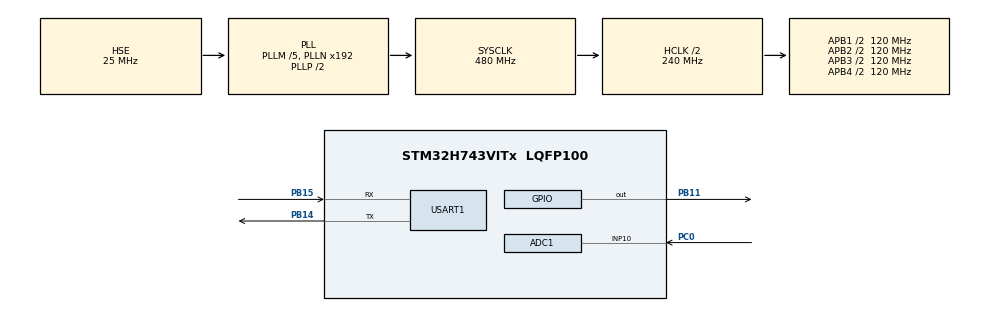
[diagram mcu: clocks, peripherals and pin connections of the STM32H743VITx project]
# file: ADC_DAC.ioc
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ADC1.Channel-1\#ChannelRegularConversion=ADC_CHANNEL_10
ADC1.ClockPrescaler=ADC_CLOCK_ASYNC_DIV1
ADC1.ConversionDataManagement=ADC_CONVERSIONDATA_DR
ADC1.ExternalTrigConv=ADC_SOFTWARE_START
ADC1.NbrOfConversion=1
ADC1.NbrOfConversionFlag=1
ADC1.OffsetNumber-1\#ChannelRegularConversion=ADC_OFFSET_NONE
ADC1.OffsetSignedSaturation-1\#ChannelRegularConversion=DISABLE
ADC1.OversamplingMode=DISABLE
ADC1.Rank-1\#ChannelRegularConversion=1
ADC1.SamplingTime-1\#ChannelRegularConversion=ADC_SAMPLETIME_1CYCLE_5
ADC1.master=1
CORTEX_M7.AccessPermission-Cortex_Memory_Protection_Unit_Region0_Settings=MPU_REGION_FULL_ACCESS
CORTEX_M7.AccessPermission-Cortex_Memory_Protection_Unit_Region1_Settings=MPU_REGION_FULL_ACCESS
CORTEX_M7.AccessPermission-Cortex_Memory_Protection_Unit_Region2_Settings=MPU_REGION_FULL_ACCESS
CORTEX_M7.AccessPermission-Cortex_Memory_Protection_Unit_Region3_Settings=MPU_REGION_FULL_ACCESS
CORTEX_M7.AccessPermission-Cortex_Memory_Protection_Unit_Region4_Settings=MPU_REGION_FULL_ACCESS
CORTEX_M7.AccessPermission_S-Cortex_Memory_Protection_Unit_Region1_Settings_S=MPU_REGION_FULL_ACCESS
CORTEX_M7.AccessPermission_S-Cortex_Memory_Protection_Unit_Region2_Settings_S=MPU_REGION_FULL_ACCESS
CORTEX_M7.AccessPermission_Spec=MPU_REGION_FULL_ACCESS
CORTEX_M7.BaseAddress-Cortex_Memory_Protection_Unit_Region0_Settings=0x24000000
CORTEX_M7.BaseAddress-Cortex_Memory_Protection_Unit_Region1_Settings=0x30000000
CORTEX_M7.BaseAddress-Cortex_Memory_Protection_Unit_Region2_Settings=0x30020000
CORTEX_M7.BaseAddress-Cortex_Memory_Protection_Unit_Region3_Settings=0x30040000
CORTEX_M7.BaseAddress-Cortex_Memory_Protection_Unit_Region4_Settings=0x38000000
CORTEX_M7.BaseAddress_S-Cortex_Memory_Protection_Unit_Region1_Settings_S=0x30000000
CORTEX_M7.BaseAddress_S-Cortex_Memory_Protection_Unit_Region2_Settings_S=0x30020000
CORTEX_M7.BaseAddress_Spec=0x24000000
CORTEX_M7.CPU_DCache=Enabled
CORTEX_M7.CPU_ICache=Enabled
CORTEX_M7.DisableExec_S-Cortex_Memory_Protection_Unit_Region1_Settings_S=MPU_INSTRUCTION_ACCESS_ENABLE
CORTEX_M7.DisableExec_S-Cortex_Memory_Protection_Unit_Region2_Settings_S=MPU_INSTRUCTION_ACCESS_ENABLE
CORTEX_M7.DisableExec_Spec=MPU_INSTRUCTION_ACCESS_ENABLE
CORTEX_M7.Enable-Cortex_Memory_Protection_Unit_Region0_Settings=MPU_REGION_ENABLE
CORTEX_M7.Enable-Cortex_Memory_Protection_Unit_Region1_Settings=MPU_REGION_ENABLE
CORTEX_M7.Enable-Cortex_Memory_Protection_Unit_Region2_Settings=MPU_REGION_ENABLE
CORTEX_M7.Enable-Cortex_Memory_Protection_Unit_Region3_Settings=MPU_REGION_ENABLE
CORTEX_M7.Enable-Cortex_Memory_Protection_Unit_Region4_Settings=MPU_REGION_ENABLE
CORTEX_M7.Enable_S-Cortex_Memory_Protection_Unit_Region1_Settings_S=MPU_REGION_ENABLE
CORTEX_M7.Enable_S-Cortex_Memory_Protection_Unit_Region2_Settings_S=MPU_REGION_ENABLE
CORTEX_M7.IsBufferable-Cortex_Memory_Protection_Unit_Region0_Settings=MPU_ACCESS_BUFFERABLE
CORTEX_M7.IsBufferable_S-Cortex_Memory_Protection_Unit_Region1_Settings_S=MPU_ACCESS_NOT_BUFFERABLE
CORTEX_M7.IsBufferable_Spec=MPU_ACCESS_BUFFERABLE
CORTEX_M7.IsCacheable-Cortex_Memory_Protection_Unit_Region0_Settings=MPU_ACCESS_CACHEABLE
CORTEX_M7.IsCacheable_S-Cortex_Memory_Protection_Unit_Region1_Settings_S=MPU_ACCESS_NOT_CACHEABLE
CORTEX_M7.IsCacheable_Spec=MPU_ACCESS_CACHEABLE
CORTEX_M7.IsShareable_Spec=MPU_ACCESS_NOT_SHAREABLE
CORTEX_M7.MPU_Control=MPU_PRIVILEGED_DEFAULT
CORTEX_M7.Size-Cortex_Memory_Protection_Unit_Region0_Settings=MPU_REGION_SIZE_512KB
CORTEX_M7.Size-Cortex_Memory_Protection_Unit_Region1_Settings=MPU_REGION_SIZE_128KB
CORTEX_M7.Size-Cortex_Memory_Protection_Unit_Region2_Settings=MPU_REGION_SIZE_128KB
CORTEX_M7.Size-Cortex_Memory_Protection_Unit_Region3_Settings=MPU_REGION_SIZE_32KB
CORTEX_M7.Size-Cortex_Memory_Protection_Unit_Region4_Settings=MPU_REGION_SIZE_64KB
CORTEX_M7.Size_S-Cortex_Memory_Protection_Unit_Region1_Settings_S=MPU_REGION_SIZE_128KB
CORTEX_M7.Size_S-Cortex_Memory_Protection_Unit_Region2_Settings_S=MPU_REGION_SIZE_128KB
CORTEX_M7.Size_Spec=MPU_REGION_SIZE_512KB
CORTEX_M7.SubRegionDisable_Spec=0x0
CORTEX_M7.TypeExtField-Cortex_Memory_Protection_Unit_Region0_Settings=MPU_TEX_LEVEL1
CORTEX_M7.TypeExtField-Cortex_Memory_Protection_Unit_Region1_Settings=MPU_TEX_LEVEL1
CORTEX_M7.TypeExtField-Cortex_Memory_Protection_Unit_Region2_Settings=MPU_TEX_LEVEL1
CORTEX_M7.TypeExtField-Cortex_Memory_Protection_Unit_Region3_Settings=MPU_TEX_LEVEL1
CORTEX_M7.TypeExtField-Cortex_Memory_Protection_Unit_Region4_Settings=MPU_TEX_LEVEL1
CORTEX_M7.TypeExtField_S-Cortex_Memory_Protection_Unit_Region1_Settings_S=MPU_TEX_LEVEL1
CORTEX_M7.TypeExtField_S-Cortex_Memory_Protection_Unit_Region2_Settings_S=MPU_TEX_LEVEL1
CORTEX_M7.TypeExtField_Spec=MPU_TEX_LEVEL1
Mcu.Family=STM32H7
Mcu.Name=STM32H743VITx
Mcu.Package=LQFP100
NVIC.PriorityGroup=NVIC_PRIORITYGROUP_4
NVIC.TIM15_IRQn=true\:0\:0\:false\:false\:true\:true\:true\:true
NVIC.TIM6_DAC_IRQn=true\:0\:0\:false\:false\:true\:true\:true\:true
NVIC.TIM8_TRG_COM_TIM14_IRQn=true\:0\:0\:false\:false\:true\:true\:true\:true
PA13\ (JTMS/SWDIO).Mode=Serial_Wire
PA13\ (JTMS/SWDIO).Signal=DEBUG_JTMS-SWDIO
PA14\ (JTCK/SWCLK).Mode=Serial_Wire
PA14\ (JTCK/SWCLK).Signal=DEBUG_JTCK-SWCLK
PA5.Signal=COMP_DAC12_group
PB11.GPIO_ModeDefaultOutputPP=GPIO_MODE_OUTPUT_PP
PB11.GPIO_PuPd=GPIO_PULLUP
PB11.GPIO_Speed=GPIO_SPEED_FREQ_LOW
PB11.PinState=GPIO_PIN_SET
PB11.Signal=GPIO_Output
PB14.Mode=Asynchronous
PB14.Signal=USART1_TX
PB15.Mode=Asynchronous
PB15.Signal=USART1_RX
PC0.Signal=ADCx_INP10
PH0-OSC_IN\ (PH0).Mode=HSE-External-Oscillator
PH0-OSC_IN\ (PH0).Signal=RCC_OSC_IN
PH1-OSC_OUT\ (PH1).Mode=HSE-External-Oscillator
PH1-OSC_OUT\ (PH1).Signal=RCC_OSC_OUT
ProjectManager.HeapSize=0x200
ProjectManager.StackSize=0x400
ProjectManager.TargetToolchain=MDK-ARM V5.32
RCC.ADCFreq_Value=72000000
RCC.APB1Freq_Value=120000000
RCC.APB2Freq_Value=120000000
RCC.APB3Freq_Value=120000000
RCC.APB4Freq_Value=120000000
RCC.CortexFreq_Value=480000000
RCC.D1PPRE=RCC_APB3_DIV2
RCC.D2PPRE1=RCC_APB1_DIV2
RCC.D2PPRE2=RCC_APB2_DIV2
RCC.D3PPRE=RCC_APB4_DIV2
RCC.DIVM1=5
RCC.DIVM2=25
RCC.DIVN1=192
RCC.DIVN2=360
RCC.DIVP2=5
RCC.HCLKFreq_Value=240000000
RCC.HPRE=RCC_HCLK_DIV2
RCC.HSE_Timout=5000
RCC.PLLSourceVirtual=RCC_PLLSOURCE_HSE
RCC.ProductRev=revV
RCC.SYSCLKFreq_VALUE=480000000
RCC.SYSCLKSource=RCC_SYSCLKSOURCE_PLLCLK
RCC.USBFreq_Value=480000000
SH.ADCx_INP10.0=ADC2_INP10
SH.ADCx_INP10.1=ADC1_INP10,IN10-Single-Ended
SH.COMP_DAC12_group.0=DAC1_OUT2
TIM14.AutoReloadPreload=TIM_AUTORELOAD_PRELOAD_ENABLE
TIM14.Period=100-1
TIM14.Prescaler=240-1
TIM15.AutoReloadPreload=TIM_AUTORELOAD_PRELOAD_ENABLE
TIM15.Period=10-1
TIM15.Prescaler=240-1
TIM15.TIM_MasterOutputTrigger=TIM_TRGO_UPDATE
TIM6.AutoReloadPreload=TIM_AUTORELOAD_PRELOAD_ENABLE
TIM6.Period=25-1
TIM6.Prescaler=240-1
TIM6.TIM_MasterOutputTrigger=TIM_TRGO_UPDATE
TIM7.Prescaler=239
USART1.VirtualMode-Asynchronous=VM_ASYNC
VP_TIM14_VS_ClockSourceINT.Mode=Enable_Timer
VP_TIM15_VS_ClockSourceINT.Mode=Internal
VP_TIM6_VS_ClockSourceINT.Mode=Enable_Timer
VP_TIM7_VS_ClockSourceINT.Mode=Enable_Timer
board=custom

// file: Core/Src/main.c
/* USER CODE BEGIN Header */
/**
  ******************************************************************************
  * @file           : main.c
  * @brief          : Main program body
  ******************************************************************************
  * @attention
  *
  * Copyright (c) 2022 STMicroelectronics.
  * All rights reserved.
  *
  * This software is licensed under terms that can be found in the LICENSE file
  * in the root directory of this software component.
  * If no LICENSE file comes with this software, it is provided AS-IS.
  *
  ******************************************************************************
  */
/* USER CODE END Header */
#include "main.h"
#include "adc.h"
#include "tim.h"
#include "usart.h"
#include "gpio.h"

/* USER CODE BEGIN Includes */

ALIGN_32BYTES (uint16_t Dat[20]) 	__attribute__((section(".ARM.__at_0x38000000")));
uint32_t ADC1_BUFFER_SIZE = 1000;
/* USER CODE END Includes */

/* USER CODE BEGIN PTD */
ALIGN_32BYTES (uint16_t adc1_data[5000]) 	__attribute__((section(".ARM.__at_0x30000000")));
__IO uint8_t AdcConvEnd = 0;//表示adc采集完成
void adc_init(void)
{
	HAL_ADC_DeInit(&hadc1);
    MX_ADC1_Init();	//初始化调用放这里, 确保在MX_DMA_Init()初始化后面
    HAL_Delay(100);	//有地方说这里可以等等电压稳定后再校准

    if (HAL_ADCEx_Calibration_Start(&hadc1, ADC_CALIB_OFFSET, ADC_SINGLE_ENDED) != HAL_OK)
    {
        printf("hadc1 error with HAL_ADCEx_Calibration_Start\r\n");
        Error_Handler();
    }

    if (HAL_ADC_Start_DMA(&hadc1, (uint32_t *)adc1_data, ADC1_BUFFER_SIZE) != HAL_OK)
    {
        printf("hadc1 error with HAL_ADC_Start_DMA\r\n");
        Error_Handler();
    }

		HAL_TIM_Base_Start(&htim15);
		while (!AdcConvEnd);
		AdcConvEnd = 0;
}

/* USER CODE END PTD */

/* USER CODE BEGIN PM */

void SineWave()
{
    uint16_t i;
    for( i=0;i<20;i++)
    {
  		Dat[i]=(uint16_t)((int16_t)(2048*sin(i*2*3.14159/20))+2048);

    }
}
/* USER CODE END PM */

void SystemClock_Config(void);
static void MPU_Config(void);

int main(void)
{

  /* MPU Configuration--------------------------------------------------------*/
  MPU_Config();

  /* Enable I-Cache---------------------------------------------------------*/
  SCB_EnableICache();

  /* Enable D-Cache---------------------------------------------------------*/
  SCB_EnableDCache();

  /* MCU Configuration--------------------------------------------------------*/

  /* Reset of all peripherals, Initializes the Flash interface and the Systick. */
  HAL_Init();

  /* Configure the system clock */
  SystemClock_Config();

  /* Initialize all configured peripherals */
  MX_GPIO_Init();
  MX_USART1_UART_Init();
  MX_TIM7_Init();
  MX_TIM6_Init();
  MX_ADC1_Init();
  MX_TIM15_Init();
  MX_TIM14_Init();
  /* USER CODE BEGIN 2 */
	HC595_Init();
	HAL_TIM_Base_Start_IT(&htim15);//打开定时器15
	HAL_TIM_Base_Start_IT(&htim6);//打开定时器15
	HAL_TIM_Base_Start_IT(&htim14);//打开定时器15

  /* USER CODE END 2 */

  /* Infinite loop */
  while (1)
  {

    /* USER CODE BEGIN 3 */
			ADC1_BUFFER_SIZE = HAL_ADC_GetValue(&hadc1);

//	  for (u16 temp = 0; temp< 200;temp++)
//	  {
//		Dat[temp] = HAL_DAC_GetValue(&hdac1, DAC_CHANNEL_2);
//		printf("%d\r\n", Dat[temp]);
//	  }

  }
  /* USER CODE END 3 */
}

void SystemClock_Config(void)
{
  RCC_OscInitTypeDef RCC_OscInitStruct = {0};
  RCC_ClkInitTypeDef RCC_ClkInitStruct = {0};

  /** Supply configuration update enable
  */
  HAL_PWREx_ConfigSupply(PWR_LDO_SUPPLY);

  /** Configure the main internal regulator output voltage
  */
  __HAL_PWR_VOLTAGESCALING_CONFIG(PWR_REGULATOR_VOLTAGE_SCALE1);

  while(!__HAL_PWR_GET_FLAG(PWR_FLAG_VOSRDY)) {}

  __HAL_RCC_SYSCFG_CLK_ENABLE();
  __HAL_PWR_VOLTAGESCALING_CONFIG(PWR_REGULATOR_VOLTAGE_SCALE0);

  while(!__HAL_PWR_GET_FLAG(PWR_FLAG_VOSRDY)) {}

  /** Initializes the RCC Oscillators according to the specified parameters
  * in the RCC_OscInitTypeDef structure.
  */
  RCC_OscInitStruct.OscillatorType = RCC_OSCILLATORTYPE_HSE;
  RCC_OscInitStruct.HSEState = RCC_HSE_ON;
  RCC_OscInitStruct.PLL.PLLState = RCC_PLL_ON;
  RCC_OscInitStruct.PLL.PLLSource = RCC_PLLSOURCE_HSE;
  RCC_OscInitStruct.PLL.PLLM = 5;
  RCC_OscInitStruct.PLL.PLLN = 192;
  RCC_OscInitStruct.PLL.PLLP = 2;
  RCC_OscInitStruct.PLL.PLLQ = 2;
  RCC_OscInitStruct.PLL.PLLR = 2;
  RCC_OscInitStruct.PLL.PLLRGE = RCC_PLL1VCIRANGE_2;
  RCC_OscInitStruct.PLL.PLLVCOSEL = RCC_PLL1VCOWIDE;
  RCC_OscInitStruct.PLL.PLLFRACN = 0;
  if (HAL_RCC_OscConfig(&RCC_OscInitStruct) != HAL_OK)
  {
    Error_Handler();
  }

  /** Initializes the CPU, AHB and APB buses clocks
  */
  RCC_ClkInitStruct.ClockType = RCC_CLOCKTYPE_HCLK|RCC_CLOCKTYPE_SYSCLK
                              |RCC_CLOCKTYPE_PCLK1|RCC_CLOCKTYPE_PCLK2
                              |RCC_CLOCKTYPE_D3PCLK1|RCC_CLOCKTYPE_D1PCLK1;
  RCC_ClkInitStruct.SYSCLKSource = RCC_SYSCLKSOURCE_PLLCLK;
  RCC_ClkInitStruct.SYSCLKDivider = RCC_SYSCLK_DIV1;
  RCC_ClkInitStruct.AHBCLKDivider = RCC_HCLK_DIV2;
  RCC_ClkInitStruct.APB3CLKDivider = RCC_APB3_DIV2;
  RCC_ClkInitStruct.APB1CLKDivider = RCC_APB1_DIV2;
  RCC_ClkInitStruct.APB2CLKDivider = RCC_APB2_DIV2;
  RCC_ClkInitStruct.APB4CLKDivider = RCC_APB4_DIV2;

  if (HAL_RCC_ClockConfig(&RCC_ClkInitStruct, FLASH_LATENCY_4) != HAL_OK)
  {
    Error_Handler();
  }
}

/* USER CODE BEGIN 4 */
void HAL_ADC_ConvCpltCallback(ADC_HandleTypeDef* hadc)
{
   if(hadc->Instance == ADC1)
	{
      //SCB_InvalidateDCache_by_Addr((uint32_t *) &adc1_data[0], ADC1_BUFFER_SIZE);
   }
	 AdcConvEnd = 1;
}

/* USER CODE END 4 */

/* MPU Configuration */

void MPU_Config(void)
{
  MPU_Region_InitTypeDef MPU_InitStruct = {0};

  /* Disables the MPU */
  HAL_MPU_Disable();

  /** Initializes and configures the Region and the memory to be protected
  */
  MPU_InitStruct.Enable = MPU_REGION_ENABLE;
  MPU_InitStruct.Number = MPU_REGION_NUMBER0;
  MPU_InitStruct.BaseAddress = 0x24000000;
  MPU_InitStruct.Size = MPU_REGION_SIZE_512KB;
  MPU_InitStruct.SubRegionDisable = 0x0;
  MPU_InitStruct.TypeExtField = MPU_TEX_LEVEL1;
  MPU_InitStruct.AccessPermission = MPU_REGION_FULL_ACCESS;
  MPU_InitStruct.DisableExec = MPU_INSTRUCTION_ACCESS_ENABLE;
  MPU_InitStruct.IsShareable = MPU_ACCESS_NOT_SHAREABLE;
  MPU_InitStruct.IsCacheable = MPU_ACCESS_CACHEABLE;
  MPU_InitStruct.IsBufferable = MPU_ACCESS_BUFFERABLE;

  HAL_MPU_ConfigRegion(&MPU_InitStruct);

  /** Initializes and configures the Region and the memory to be protected
  */
  MPU_InitStruct.Number = MPU_REGION_NUMBER1;
  MPU_InitStruct.BaseAddress = 0x30000000;
  MPU_InitStruct.Size = MPU_REGION_SIZE_128KB;
  MPU_InitStruct.IsCacheable = MPU_ACCESS_NOT_CACHEABLE;
  MPU_InitStruct.IsBufferable = MPU_ACCESS_NOT_BUFFERABLE;

  HAL_MPU_ConfigRegion(&MPU_InitStruct);

  /** Initializes and configures the Region and the memory to be protected
  */
  MPU_InitStruct.Number = MPU_REGION_NUMBER2;
  MPU_InitStruct.BaseAddress = 0x30020000;

  HAL_MPU_ConfigRegion(&MPU_InitStruct);

  /** Initializes and configures the Region and the memory to be protected
  */
  MPU_InitStruct.Number = MPU_REGION_NUMBER3;
  MPU_InitStruct.BaseAddress = 0x30040000;
  MPU_InitStruct.Size = MPU_REGION_SIZE_32KB;

  HAL_MPU_ConfigRegion(&MPU_InitStruct);

  /** Initializes and configures the Region and the memory to be protected
  */
  MPU_InitStruct.Number = MPU_REGION_NUMBER4;
  MPU_InitStruct.BaseAddress = 0x38000000;
  MPU_InitStruct.Size = MPU_REGION_SIZE_64KB;

  HAL_MPU_ConfigRegion(&MPU_InitStruct);
  /* Enables the MPU */
  HAL_MPU_Enable(MPU_PRIVILEGED_DEFAULT);

}

void Error_Handler(void)
{
  __disable_irq();
  while (1)
  {
  }
}
